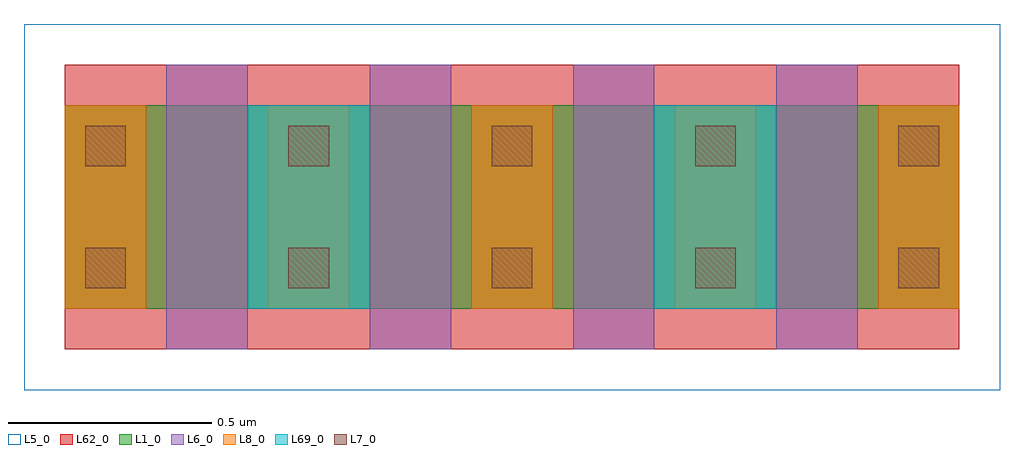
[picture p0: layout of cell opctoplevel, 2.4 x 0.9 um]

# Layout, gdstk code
import gdstk
lib = gdstk.Library(unit=1e-6, precision=1e-09)
def R(c, l, rs):  # rectangles x0, y0, x1, y1
    for r in rs: c.add(gdstk.rectangle(r[:2], r[2:], *l))
def A(c, l, x, y, w, h, nx, ny, dx, dy):  # array of equal rectangles
    R(c, l, [(x+i*dx, y+j*dy, x+i*dx+w, y+j*dy+h) for i in range(nx) for j in range(ny)])
L1_0 = (1, 0)
L5_0 = (5, 0)
L6_0 = (6, 0)
L7_0 = (7, 0)
L8_0 = (8, 0)
L62_0 = (62, 0)
L69_0 = (69, 0)

opctoplevel = lib.new_cell('opctoplevel')
R(opctoplevel, L1_0, [(-0.25,0,1.95,0.5)])
R(opctoplevel, L5_0, [(-0.35,-0.2,2.05,0.7)])
A(opctoplevel, L6_0, 0, -0.1, 0.2, 0.7, 4, 1, 0.5, 0)
A(opctoplevel, L7_0, -0.2, 0.05, 0.1, 0.1, 5, 2, 0.5, 0.3)
A(opctoplevel, L8_0, -0.25, 0, 0.2, 0.5, 5, 1, 0.5, 0)
R(opctoplevel, L62_0, [(-0.25,-0.1,1.95,0.6)])
R(opctoplevel, L69_0, [(0.2,0,0.5,0.5), (1.2,0,1.5,0.5)])

lib.write_gds('opctoplevel.gds')
